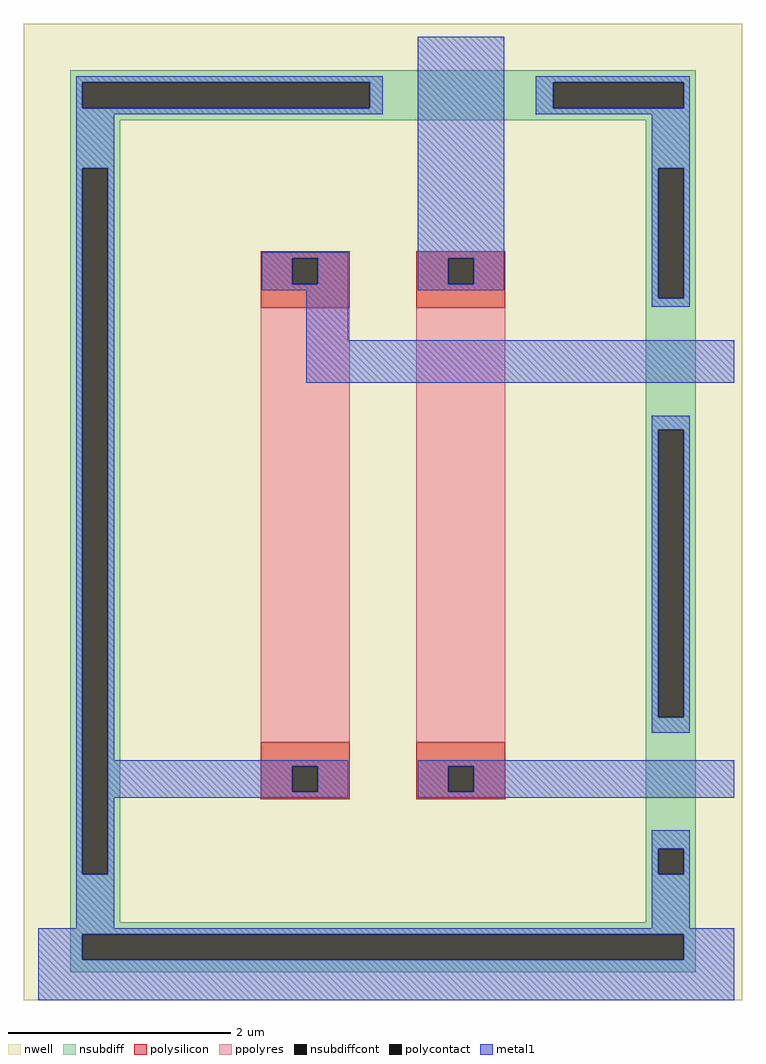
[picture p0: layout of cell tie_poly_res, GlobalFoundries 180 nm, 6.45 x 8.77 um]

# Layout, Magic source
magic
tech gf180mcuD
magscale 1 10
<< nwell >>
rect -2756 54700 -1466 56453
<< nsubdiff >>
rect -2673 56348 -1549 56370
rect -2673 56302 -2651 56348
rect -2135 56302 -1805 56348
rect -1571 56302 -1549 56348
rect -2673 56280 -1549 56302
rect -2673 56194 -2583 56280
rect -2673 54926 -2651 56194
rect -2605 54926 -2583 56194
rect -1639 56194 -1549 56280
rect -1639 55960 -1617 56194
rect -1571 55960 -1549 56194
rect -1639 55724 -1549 55960
rect -1639 55208 -1617 55724
rect -1571 55208 -1549 55724
rect -2673 54840 -2583 54926
rect -1639 54972 -1549 55208
rect -1639 54926 -1617 54972
rect -1571 54926 -1549 54972
rect -1639 54840 -1549 54926
rect -2673 54818 -1549 54840
rect -2673 54772 -2651 54818
rect -1571 54772 -1549 54818
rect -2673 54750 -1549 54772
<< nsubdiffcont >>
rect -2651 56302 -2135 56348
rect -1805 56302 -1571 56348
rect -2651 54926 -2605 56194
rect -1617 55960 -1571 56194
rect -1617 55208 -1571 55724
rect -1617 54926 -1571 54972
rect -2651 54772 -1571 54818
<< polysilicon >>
rect -2331 56032 -2171 56045
rect -2331 55986 -2274 56032
rect -2228 55986 -2171 56032
rect -2331 55943 -2171 55986
rect -2331 55120 -2171 55163
rect -2331 55074 -2274 55120
rect -2228 55074 -2171 55120
rect -2331 55061 -2171 55074
rect -2051 56032 -1891 56045
rect -2051 55986 -1994 56032
rect -1948 55986 -1891 56032
rect -2051 55943 -1891 55986
rect -2051 55120 -1891 55163
rect -2051 55074 -1994 55120
rect -1948 55074 -1891 55120
rect -2051 55061 -1891 55074
<< polycontact >>
rect -2274 55986 -2228 56032
rect -2274 55074 -2228 55120
rect -1994 55986 -1948 56032
rect -1994 55074 -1948 55120
<< ppolyres >>
rect -2331 55163 -2171 55943
rect -2051 55163 -1891 55943
<< metal1 >>
rect -2662 56348 -2111 56359
rect -2662 56302 -2651 56348
rect -2135 56302 -2111 56348
rect -2662 56291 -2111 56302
rect -2662 56194 -2594 56291
rect -2662 54926 -2651 56194
rect -2605 55131 -2594 56194
rect -2329 56032 -2173 56043
rect -2329 55986 -2274 56032
rect -2228 55986 -2173 56032
rect -2329 55975 -2173 55986
rect -2049 56032 -1893 56430
rect -1837 56348 -1560 56359
rect -1837 56302 -1805 56348
rect -1571 56302 -1560 56348
rect -1837 56291 -1560 56302
rect -2049 55986 -1994 56032
rect -1948 55986 -1893 56032
rect -2049 55975 -1893 55986
rect -1628 56194 -1560 56291
rect -2249 55885 -2173 55975
rect -1628 55960 -1617 56194
rect -1571 55960 -1560 56194
rect -1628 55945 -1560 55960
rect -2249 55809 -1480 55885
rect -1628 55724 -1560 55749
rect -1628 55208 -1617 55724
rect -1571 55208 -1560 55724
rect -1628 55180 -1560 55208
rect -2605 55120 -2173 55131
rect -2605 55074 -2274 55120
rect -2228 55074 -2173 55120
rect -2605 55063 -2173 55074
rect -2049 55120 -1480 55131
rect -2049 55074 -1994 55120
rect -1948 55074 -1480 55120
rect -2049 55063 -1480 55074
rect -2605 54926 -2594 55063
rect -2662 54829 -2594 54926
rect -1628 54972 -1560 55005
rect -1628 54926 -1617 54972
rect -1571 54926 -1560 54972
rect -1628 54829 -1560 54926
rect -2730 54818 -1480 54829
rect -2730 54772 -2651 54818
rect -1571 54772 -1480 54818
rect -2730 54700 -1480 54772
<< end >>
